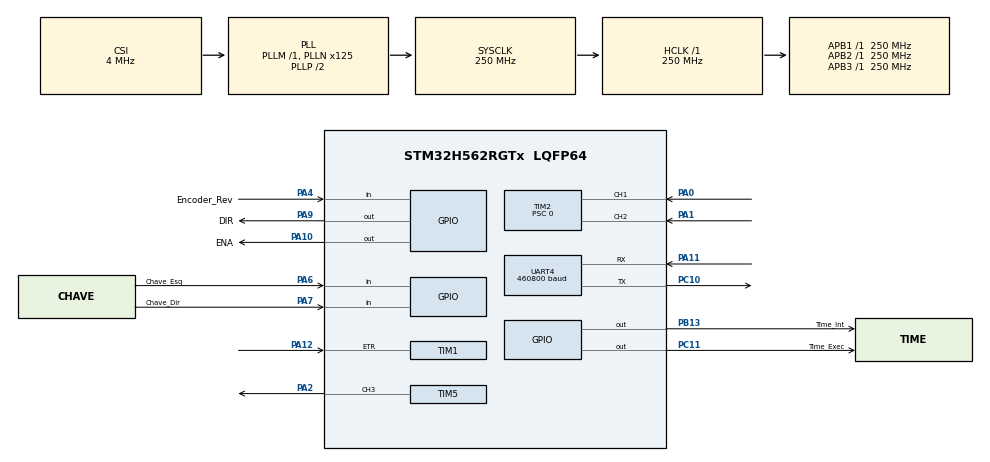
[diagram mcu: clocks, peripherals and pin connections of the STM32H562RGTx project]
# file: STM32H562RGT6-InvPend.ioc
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BOOTPATH.BootPathName=LEGACY
BOOTPATH.UserSelectedBootPath=LEGACY
CORTEX_M33_NS.Number-Cortex_Memory_Protection_Unit_Region0_OTP_RO_AREAS_Settings=MPU_REGION_NUMBER0
CORTEX_M33_NS.default_mode_Activation=1
CORTEX_M33_NS.userName=CORTEX_M33
GPDMA1.DIRECTION_GPDMACH0=DMA_MEMORY_TO_PERIPH
GPDMA1.IPHANDLE_GPDMACH0-SIMPLEREQUEST_GPDMACH0=__NULL
GPDMA1.REQUEST_GPDMACH0=GPDMA1_REQUEST_UART4_TX
GPDMA1.SRCINC_GPDMACH0=DMA_SINC_INCREMENTED
Mcu.Family=STM32H5
Mcu.Name=STM32H562RGTx
Mcu.Package=LQFP64
Mcu.UserConstants=ENCODER_RESOLUTION,9999
NVIC.GPDMA1_Channel0_IRQn=true\:0\:0\:false\:false\:true\:false\:true\:true
NVIC.PriorityGroup=NVIC_PRIORITYGROUP_4
NVIC.TIM3_IRQn=true\:0\:0\:false\:false\:true\:true\:true\:true
NVIC.UART4_IRQn=true\:0\:0\:false\:false\:true\:true\:true\:true
PA0.GPIO_PuPd=GPIO_PULLUP
PA0.Signal=S_TIM2_CH1
PA1.GPIO_PuPd=GPIO_PULLUP
PA1.Signal=S_TIM2_CH2
PA10.GPIO_Label=ENA
PA10.GPIO_ModeDefaultOutputPP=GPIO_MODE_OUTPUT_OD
PA10.GPIO_PuPd=GPIO_NOPULL
PA10.Signal=GPIO_Output
PA11.Mode=Asynchronous
PA11.Signal=UART4_RX
PA12.Signal=S_TIM1_ETR
PA13(JTMS/SWDIO).Mode=Serial_Wire
PA13(JTMS/SWDIO).Signal=DEBUG_JTMS-SWDIO
PA14(JTCK/SWCLK).Mode=Serial_Wire
PA14(JTCK/SWCLK).Signal=DEBUG_JTCK-SWCLK
PA2.GPIO_ModeDefaultPP=GPIO_MODE_AF_OD
PA2.GPIO_Speed=GPIO_SPEED_FREQ_LOW
PA2.Signal=S_TIM5_CH3
PA4.GPIO_Label=Encoder_Rev
PA4.GPIO_PuPd=GPIO_PULLUP
PA4.Signal=GPIO_Input
PA6.GPIO_Label=Chave_Esq
PA6.GPIO_PuPd=GPIO_PULLUP
PA6.Signal=GPIO_Input
PA7.GPIO_Label=Chave_Dir
PA7.GPIO_PuPd=GPIO_PULLUP
PA7.Signal=GPIO_Input
PA9.GPIO_Label=DIR
PA9.GPIO_ModeDefaultOutputPP=GPIO_MODE_OUTPUT_OD
PA9.GPIO_PuPd=GPIO_NOPULL
PA9.Signal=GPIO_Output
PB13.GPIO_Label=Time_Int
PB13.Signal=GPIO_Output
PC10.Mode=Asynchronous
PC10.Signal=UART4_TX
PC11.GPIO_Label=Time_Exec
PC11.Signal=GPIO_Output
PC14-OSC32_IN(OSC32_IN).Mode=LSE-External-Oscillator
PC14-OSC32_IN(OSC32_IN).Signal=RCC_OSC32_IN
PC15-OSC32_OUT(OSC32_OUT).Mode=LSE-External-Oscillator
PC15-OSC32_OUT(OSC32_OUT).Signal=RCC_OSC32_OUT
PH0-OSC_IN(PH0).Mode=HSE-External-Oscillator
PH0-OSC_IN(PH0).Signal=RCC_OSC_IN
PH1-OSC_OUT(PH1).Mode=HSE-External-Oscillator
PH1-OSC_OUT(PH1).Signal=RCC_OSC_OUT
ProjectManager.HeapSize=0x200
ProjectManager.StackSize=0x400
ProjectManager.TargetToolchain=STM32CubeIDE
RCC.ADCFreq_Value=250000000
RCC.AHBFreq_Value=250000000
RCC.APB1Freq_Value=250000000
RCC.APB1TimFreq_Value=250000000
RCC.APB2Freq_Value=250000000
RCC.APB2TimFreq_Value=250000000
RCC.APB3Freq_Value=250000000
RCC.CSI_VALUE=4000000
RCC.CortexFreq_Value=250000000
RCC.EPOD_VALUE=4000000
RCC.HCLKFreq_Value=250000000
RCC.HSE_VALUE=8000000
RCC.HSI48_VALUE=48000000
RCC.HSI_VALUE=64000000
RCC.LSIRC_VALUE=32000
RCC.PLL2FRACN=0
RCC.PLL3FRACN=0
RCC.PLLFRACN=0
RCC.PLLN=125
RCC.SYSCLKFreq_VALUE=250000000
RCC.SYSCLKSource=RCC_SYSCLKSOURCE_PLLCLK
RCC.USBFreq_Value=48000000
RCC.VCOOutputFreq_Value=500000000
SH.S_TIM1_ETR.0=TIM1_ETR,ClockSourceETR_Mode2
SH.S_TIM2_CH1.0=TIM2_CH1,Encoder_Interface
SH.S_TIM2_CH2.0=TIM2_CH2,Encoder_Interface
SH.S_TIM5_CH3.0=TIM5_CH3,PWM Generation3 CH3
TIM2.AutoReloadPreload=TIM_AUTORELOAD_PRELOAD_ENABLE
TIM2.ClockDivision=TIM_CLOCKDIVISION_DIV1
TIM2.Dithering=Disable
TIM2.EncoderMode=TIM_ENCODERMODE_TI12
TIM2.IC1Filter=10
TIM2.IC1Polarity=TIM_ICPOLARITY_RISING
TIM2.IC2Filter=10
TIM2.IC2Polarity=TIM_ICPOLARITY_RISING
TIM2.PeriodNoDither=ENCODER_RESOLUTION
TIM2.Prescaler=0
TIM3.PeriodNoDither=1000-1
TIM3.Prescaler=250-1
TIM4.Prescaler=250-1
TIM5.AutoReloadPreload=TIM_AUTORELOAD_PRELOAD_ENABLE
TIM5.Channel-PWM\ Generation3\ CH3=TIM_CHANNEL_3
TIM5.OCFastMode_PWM-PWM\ Generation3\ CH3=TIM_OCFAST_ENABLE
TIM5.PeriodNoDither=1000000-1
TIM5.Prescaler=250-1
TIM5.PulseNoDither_3=500000
UART4.BaudRate=460800
VP_BOOTPATH_VS_BOOTPATH.Mode=BP_Activate
VP_CORTEX_M33_NS_VS_Hclk.Mode=Hclk_Mode
VP_GPDMA1_VS_GPDMACH0.Mode=SIMPLEREQUEST_GPDMACH0
VP_ICACHE_VS_ICACHE.Mode=DirectMappedCache
VP_MEMORYMAP_VS_MEMORYMAP.Mode=CurAppReg
VP_PWR_VS_LPOM.Mode=PowerOptimisation
VP_PWR_VS_SECSignals.Mode=Security/Privilege
VP_TIM3_VS_ClockSourceINT.Mode=Internal
VP_TIM4_VS_ClockSourceINT.Mode=Internal
VP_TIM5_VS_ClockSourceINT.Mode=Internal
board=custom

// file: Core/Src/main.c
/* USER CODE BEGIN Header */
/**
  ******************************************************************************
  * @file           : main.c
  * @brief          : Main program body
  ******************************************************************************
  * @attention
  *
  * Copyright (c) 2026 STMicroelectronics.
  * All rights reserved.
  *
  * This software is licensed under terms that can be found in the LICENSE file
  * in the root directory of this software component.
  * If no LICENSE file comes with this software, it is provided AS-IS.
  *
  ******************************************************************************
  */
/* USER CODE END Header */
#include "main.h"

/* USER CODE BEGIN Includes */
#include "stdio.h"
#include "string.h"
#include "penduloinvertido.h"

/* USER CODE END Includes */

TIM_HandleTypeDef htim1;
TIM_HandleTypeDef htim2;
TIM_HandleTypeDef htim3;
TIM_HandleTypeDef htim4;
TIM_HandleTypeDef htim5;

UART_HandleTypeDef huart4;
DMA_HandleTypeDef handle_GPDMA1_Channel0;

/* USER CODE BEGIN PV */
int32_t   tempo;            // Variável para testes de tempo
uint32_t  last_rx_time = 0; // Controle de tempo para expirar dado recebido pela UART
uint8_t   rx_buffer[3];     // Buffer do RX da UART
char      tx_buffer[35];    // Buffer do TX da UART
int32_t   excede_envio;     // Variável é incrementada caso tenha dados de simulação para enviar
                            // via serial antes de terminar o anterior (Serial 460800bps)
                            // significa que não esta dando tempo de enviar novos dados
                            // antes de acabar de enviar os dados anteriores.
                            // Obs.: Utilizada somente para análise e debug

volatile uint8_t uart_tx_busy = 0, flag_controle = 0;

Pendulo_t pendulo;

/* USER CODE END PV */

void SystemClock_Config(void);
static void MPU_Config(void);
static void MX_GPIO_Init(void);
static void MX_GPDMA1_Init(void);
static void MX_ICACHE_Init(void);
static void MX_UART4_Init(void);
static void MX_TIM2_Init(void);
static void MX_TIM3_Init(void);
static void MX_TIM5_Init(void);
static void MX_TIM4_Init(void);
static void MX_TIM1_Init(void);

/* USER CODE BEGIN 0 */

/**
 * @brief Rotina de atraso em ms, lembrar como o Timer 4 é de 16 bits, o atraso máximo é 65milisegundos
 */
void atraso_us(uint32_t us)
{
    __HAL_TIM_SET_COUNTER(&htim4,0); // Zera contador
    while(__HAL_TIM_GET_COUNTER(&htim4) < us);
 }

/**
 * @brief Ajusta PID com dados recebido do simulador no PC, normlamente de 0 a 100
 *		  Com isto temos os coeficientes Kp de 0 a 100, Ki e Kd de 0 a 0.1
 */
void HAL_UART_RxCpltCallback(UART_HandleTypeDef *huart)
{
	if (huart->Instance == UART4)
	{
		last_rx_time = HAL_GetTick();

        Pendulo_SetaPID(&pendulo, (float) rx_buffer[0],
        		                  (float) rx_buffer[1],
						          (float) rx_buffer[2] / 10);
	}
}

/**
 * @brief Descarta dados do buffer caso a UART não seja preenchida em 1 segundo
 */
void Expira_RX_Buffer_Simulador()

{
	if ((HAL_GetTick() - last_rx_time) > 1000 && rx_buffer[0] > 0)
	{
		memset(rx_buffer, 0, sizeof(rx_buffer));
		HAL_UART_AbortReceive_IT(&huart4);
		HAL_UART_Receive_IT(&huart4, rx_buffer, 3);
	}
}

/**
 * @brief Seta variável uart_tx_busy = 0 sinalizando que acabou a transmissão UART
 */
void HAL_UART_TxCpltCallback(UART_HandleTypeDef *huart)
{
	if (huart->Instance == UART4)
	{
		uart_tx_busy = 0;
	}
}

/**
 *  @brief Envia dados para o simulador no PC
 */
void Envia_simulador()
{
	if (uart_tx_busy == 0)
	{
		uart_tx_busy = 1;

		// Ângulo, Velocidade angular, posição do carro, velocidade do carro
		sprintf((char*)tx_buffer, "%.1f;%.1f;%d;%d\r\n",
				pendulo.angulo_pendulo,
				pendulo.velocidade_angular_pendulo,
				pendulo.posicao_carro,
				pendulo.velocidade_carro);
		HAL_UART_Transmit_DMA(&huart4, (uint8_t*)tx_buffer, strlen(tx_buffer));
	}
	else
	{
		excede_envio++;
	}
}

/**
 * @brief Esta função é chamada pelo timer 3 programado para cada 1 ms
 *        É o coração do controle do pêndulo invertido
 */
void HAL_TIM_PeriodElapsedCallback(TIM_HandleTypeDef *htim)
{
	if (htim == &htim3)
	{
	    flag_controle = 1;
	}
}

/* USER CODE END 0 */

int main(void)
{

  /* MCU Configuration--------------------------------------------------------*/

  /* MPU Configuration--------------------------------------------------------*/
  MPU_Config();

  /* Reset of all peripherals, Initializes the Flash interface and the Systick. */
  HAL_Init();

  /* Configure the system clock */
  SystemClock_Config();

  /* Initialize all configured peripherals */
  MX_GPIO_Init();
  MX_GPDMA1_Init();
  MX_ICACHE_Init();
  MX_UART4_Init();
  MX_TIM2_Init();
  MX_TIM3_Init();
  MX_TIM5_Init();
  MX_TIM4_Init();
  MX_TIM1_Init();
  /* USER CODE BEGIN 2 */
  HAL_TIM_Encoder_Start(&htim2, TIM_CHANNEL_ALL); // Inicia encoder
  HAL_UART_Receive_IT(&huart4, rx_buffer, 3); // Gera interrupção após UART preencher buffer com 3º bytes
  HAL_TIM_Base_Start(&htim4);

  // Inicializa GPIOs
  HAL_GPIO_WritePin(DIR_GPIO_Port, DIR_Pin, 1); // Motor 0 = Anti-horário, carro direita / 1 = Horário, carro esquerda
  HAL_GPIO_WritePin(ENA_GPIO_Port, ENA_Pin, 1); // Motor 1 = Habilitado / 0 = desabilitado
  HAL_GPIO_WritePin(Time_Int_GPIO_Port, Time_Int_Pin, 0); // Para análise com osciloscópio
  HAL_GPIO_WritePin(Time_Exec_GPIO_Port, Time_Exec_Pin, 0); // Para análise com osciloscópio
  HAL_TIM_Base_Start(&htim1); //Inicia contagem de pulsos PWM do motor de passo
  /* USER CODE END 2 */

  /* Infinite loop */
  /* USER CODE BEGIN WHILE */

  HAL_Delay(500); // Atraso para estabilização

  /**
 * @brief Inicializa Pêndulo passando as referências necessárias
 *
 * @param pendulo - Estrutura principal
 * @param htim5 - Timer PWM
 * @param TIM_CHANNEL_3 - Canal PWM
 * @param Chave_Dir_GPIO_Port - GPIO chave de fim de curso direita
 * @param Chave_Dir_Pin - Pino associado
 * @param Chave_Esq_GPIO_Port - GPIO chave de fim de curso esquerda
 * @param Chave_Esq_Pin - Pino associado
 * @param DIR_GPIO_Port - Direção do motor
 * @param DIR_Pin - Pino associado
 * @param htim1 - Contador de pulsos
 * @param htim2 - Encoder
 */
  Pendulo_Inicializa(&pendulo, &htim5, TIM_CHANNEL_3,
		             Chave_Dir_GPIO_Port, Chave_Dir_Pin,
					 Chave_Esq_GPIO_Port, Chave_Esq_Pin,
					 DIR_GPIO_Port, DIR_Pin,
					 &htim1, &htim2);

  HAL_TIM_Base_Start_IT(&htim3); // Inicia interrupção para o controle do pêndulo

  while (1)
  {
    /* USER CODE END WHILE */

    /* USER CODE BEGIN 3 */
	if (flag_controle == 1)
	{
        Pendulo_AtualizaPendulo(&pendulo);

	    Expira_RX_Buffer_Simulador();
	    Envia_simulador();

		flag_controle = 0;
	}
  }
  /* USER CODE END 3 */
}

void SystemClock_Config(void)
{
  RCC_OscInitTypeDef RCC_OscInitStruct = {0};
  RCC_ClkInitTypeDef RCC_ClkInitStruct = {0};

  /** Configure the main internal regulator output voltage
  */
  __HAL_PWR_VOLTAGESCALING_CONFIG(PWR_REGULATOR_VOLTAGE_SCALE0);

  while(!__HAL_PWR_GET_FLAG(PWR_FLAG_VOSRDY)) {}

  /** Initializes the RCC Oscillators according to the specified parameters
  * in the RCC_OscInitTypeDef structure.
  */
  RCC_OscInitStruct.OscillatorType = RCC_OSCILLATORTYPE_CSI;
  RCC_OscInitStruct.CSIState = RCC_CSI_ON;
  RCC_OscInitStruct.CSICalibrationValue = RCC_CSICALIBRATION_DEFAULT;
  RCC_OscInitStruct.PLL.PLLState = RCC_PLL_ON;
  RCC_OscInitStruct.PLL.PLLSource = RCC_PLL1_SOURCE_CSI;
  RCC_OscInitStruct.PLL.PLLM = 1;
  RCC_OscInitStruct.PLL.PLLN = 125;
  RCC_OscInitStruct.PLL.PLLP = 2;
  RCC_OscInitStruct.PLL.PLLQ = 2;
  RCC_OscInitStruct.PLL.PLLR = 2;
  RCC_OscInitStruct.PLL.PLLRGE = RCC_PLL1_VCIRANGE_2;
  RCC_OscInitStruct.PLL.PLLVCOSEL = RCC_PLL1_VCORANGE_WIDE;
  RCC_OscInitStruct.PLL.PLLFRACN = 0;
  if (HAL_RCC_OscConfig(&RCC_OscInitStruct) != HAL_OK)
  {
    Error_Handler();
  }

  /** Initializes the CPU, AHB and APB buses clocks
  */
  RCC_ClkInitStruct.ClockType = RCC_CLOCKTYPE_HCLK|RCC_CLOCKTYPE_SYSCLK
                              |RCC_CLOCKTYPE_PCLK1|RCC_CLOCKTYPE_PCLK2
                              |RCC_CLOCKTYPE_PCLK3;
  RCC_ClkInitStruct.SYSCLKSource = RCC_SYSCLKSOURCE_PLLCLK;
  RCC_ClkInitStruct.AHBCLKDivider = RCC_SYSCLK_DIV1;
  RCC_ClkInitStruct.APB1CLKDivider = RCC_HCLK_DIV1;
  RCC_ClkInitStruct.APB2CLKDivider = RCC_HCLK_DIV1;
  RCC_ClkInitStruct.APB3CLKDivider = RCC_HCLK_DIV1;

  if (HAL_RCC_ClockConfig(&RCC_ClkInitStruct, FLASH_LATENCY_5) != HAL_OK)
  {
    Error_Handler();
  }

  /** Configure the programming delay
  */
  __HAL_FLASH_SET_PROGRAM_DELAY(FLASH_PROGRAMMING_DELAY_2);
}

static void MX_GPDMA1_Init(void)
{

  /* Peripheral clock enable */
  __HAL_RCC_GPDMA1_CLK_ENABLE();

  /* GPDMA1 interrupt Init */
    HAL_NVIC_SetPriority(GPDMA1_Channel0_IRQn, 0, 0);
    HAL_NVIC_EnableIRQ(GPDMA1_Channel0_IRQn);

}

static void MX_ICACHE_Init(void)
{

  /** Enable instruction cache in 1-way (direct mapped cache)
  */
  if (HAL_ICACHE_ConfigAssociativityMode(ICACHE_1WAY) != HAL_OK)
  {
    Error_Handler();
  }
  if (HAL_ICACHE_Enable() != HAL_OK)
  {
    Error_Handler();
  }

}

static void MX_TIM1_Init(void)
{

  TIM_ClockConfigTypeDef sClockSourceConfig = {0};
  TIM_MasterConfigTypeDef sMasterConfig = {0};

  htim1.Instance = TIM1;
  htim1.Init.Prescaler = 0;
  htim1.Init.CounterMode = TIM_COUNTERMODE_UP;
  htim1.Init.Period = 65535;
  htim1.Init.ClockDivision = TIM_CLOCKDIVISION_DIV1;
  htim1.Init.RepetitionCounter = 0;
  htim1.Init.AutoReloadPreload = TIM_AUTORELOAD_PRELOAD_DISABLE;
  if (HAL_TIM_Base_Init(&htim1) != HAL_OK)
  {
    Error_Handler();
  }
  sClockSourceConfig.ClockSource = TIM_CLOCKSOURCE_ETRMODE2;
  sClockSourceConfig.ClockPolarity = TIM_CLOCKPOLARITY_NONINVERTED;
  sClockSourceConfig.ClockPrescaler = TIM_CLOCKPRESCALER_DIV1;
  sClockSourceConfig.ClockFilter = 0;
  if (HAL_TIM_ConfigClockSource(&htim1, &sClockSourceConfig) != HAL_OK)
  {
    Error_Handler();
  }
  sMasterConfig.MasterOutputTrigger = TIM_TRGO_RESET;
  sMasterConfig.MasterOutputTrigger2 = TIM_TRGO2_RESET;
  sMasterConfig.MasterSlaveMode = TIM_MASTERSLAVEMODE_DISABLE;
  if (HAL_TIMEx_MasterConfigSynchronization(&htim1, &sMasterConfig) != HAL_OK)
  {
    Error_Handler();
  }

}

static void MX_TIM2_Init(void)
{

  TIM_Encoder_InitTypeDef sConfig = {0};
  TIM_MasterConfigTypeDef sMasterConfig = {0};

  htim2.Instance = TIM2;
  htim2.Init.Prescaler = 0;
  htim2.Init.CounterMode = TIM_COUNTERMODE_UP;
  htim2.Init.Period = 9999;
  htim2.Init.ClockDivision = TIM_CLOCKDIVISION_DIV1;
  htim2.Init.AutoReloadPreload = TIM_AUTORELOAD_PRELOAD_ENABLE;
  sConfig.EncoderMode = TIM_ENCODERMODE_TI12;
  sConfig.IC1Polarity = TIM_ICPOLARITY_RISING;
  sConfig.IC1Selection = TIM_ICSELECTION_DIRECTTI;
  sConfig.IC1Prescaler = TIM_ICPSC_DIV1;
  sConfig.IC1Filter = 10;
  sConfig.IC2Polarity = TIM_ICPOLARITY_RISING;
  sConfig.IC2Selection = TIM_ICSELECTION_DIRECTTI;
  sConfig.IC2Prescaler = TIM_ICPSC_DIV1;
  sConfig.IC2Filter = 10;
  if (HAL_TIM_Encoder_Init(&htim2, &sConfig) != HAL_OK)
  {
    Error_Handler();
  }
  sMasterConfig.MasterOutputTrigger = TIM_TRGO_RESET;
  sMasterConfig.MasterSlaveMode = TIM_MASTERSLAVEMODE_DISABLE;
  if (HAL_TIMEx_MasterConfigSynchronization(&htim2, &sMasterConfig) != HAL_OK)
  {
    Error_Handler();
  }

}

static void MX_TIM3_Init(void)
{

  TIM_ClockConfigTypeDef sClockSourceConfig = {0};
  TIM_MasterConfigTypeDef sMasterConfig = {0};

  htim3.Instance = TIM3;
  htim3.Init.Prescaler = 250-1;
  htim3.Init.CounterMode = TIM_COUNTERMODE_UP;
  htim3.Init.Period = 999;
  htim3.Init.ClockDivision = TIM_CLOCKDIVISION_DIV1;
  htim3.Init.AutoReloadPreload = TIM_AUTORELOAD_PRELOAD_DISABLE;
  if (HAL_TIM_Base_Init(&htim3) != HAL_OK)
  {
    Error_Handler();
  }
  sClockSourceConfig.ClockSource = TIM_CLOCKSOURCE_INTERNAL;
  if (HAL_TIM_ConfigClockSource(&htim3, &sClockSourceConfig) != HAL_OK)
  {
    Error_Handler();
  }
  sMasterConfig.MasterOutputTrigger = TIM_TRGO_RESET;
  sMasterConfig.MasterSlaveMode = TIM_MASTERSLAVEMODE_DISABLE;
  if (HAL_TIMEx_MasterConfigSynchronization(&htim3, &sMasterConfig) != HAL_OK)
  {
    Error_Handler();
  }

}

static void MX_TIM4_Init(void)
{

  TIM_ClockConfigTypeDef sClockSourceConfig = {0};
  TIM_MasterConfigTypeDef sMasterConfig = {0};

  htim4.Instance = TIM4;
  htim4.Init.Prescaler = 250-1;
  htim4.Init.CounterMode = TIM_COUNTERMODE_UP;
  htim4.Init.Period = 65535;
  htim4.Init.ClockDivision = TIM_CLOCKDIVISION_DIV1;
  htim4.Init.AutoReloadPreload = TIM_AUTORELOAD_PRELOAD_DISABLE;
  if (HAL_TIM_Base_Init(&htim4) != HAL_OK)
  {
    Error_Handler();
  }
  sClockSourceConfig.ClockSource = TIM_CLOCKSOURCE_INTERNAL;
  if (HAL_TIM_ConfigClockSource(&htim4, &sClockSourceConfig) != HAL_OK)
  {
    Error_Handler();
  }
  sMasterConfig.MasterOutputTrigger = TIM_TRGO_RESET;
  sMasterConfig.MasterSlaveMode = TIM_MASTERSLAVEMODE_DISABLE;
  if (HAL_TIMEx_MasterConfigSynchronization(&htim4, &sMasterConfig) != HAL_OK)
  {
    Error_Handler();
  }

}

static void MX_TIM5_Init(void)
{

  TIM_ClockConfigTypeDef sClockSourceConfig = {0};
  TIM_MasterConfigTypeDef sMasterConfig = {0};
  TIM_OC_InitTypeDef sConfigOC = {0};

  htim5.Instance = TIM5;
  htim5.Init.Prescaler = 250-1;
  htim5.Init.CounterMode = TIM_COUNTERMODE_UP;
  htim5.Init.Period = 999999;
  htim5.Init.ClockDivision = TIM_CLOCKDIVISION_DIV1;
  htim5.Init.AutoReloadPreload = TIM_AUTORELOAD_PRELOAD_ENABLE;
  if (HAL_TIM_Base_Init(&htim5) != HAL_OK)
  {
    Error_Handler();
  }
  sClockSourceConfig.ClockSource = TIM_CLOCKSOURCE_INTERNAL;
  if (HAL_TIM_ConfigClockSource(&htim5, &sClockSourceConfig) != HAL_OK)
  {
    Error_Handler();
  }
  if (HAL_TIM_PWM_Init(&htim5) != HAL_OK)
  {
    Error_Handler();
  }
  sMasterConfig.MasterOutputTrigger = TIM_TRGO_RESET;
  sMasterConfig.MasterSlaveMode = TIM_MASTERSLAVEMODE_DISABLE;
  if (HAL_TIMEx_MasterConfigSynchronization(&htim5, &sMasterConfig) != HAL_OK)
  {
    Error_Handler();
  }
  sConfigOC.OCMode = TIM_OCMODE_PWM1;
  sConfigOC.Pulse = 500000;
  sConfigOC.OCPolarity = TIM_OCPOLARITY_HIGH;
  sConfigOC.OCFastMode = TIM_OCFAST_ENABLE;
  if (HAL_TIM_PWM_ConfigChannel(&htim5, &sConfigOC, TIM_CHANNEL_3) != HAL_OK)
  {
    Error_Handler();
  }
  HAL_TIM_MspPostInit(&htim5);

}

static void MX_UART4_Init(void)
{

  huart4.Instance = UART4;
  huart4.Init.BaudRate = 460800;
  huart4.Init.WordLength = UART_WORDLENGTH_8B;
  huart4.Init.StopBits = UART_STOPBITS_1;
  huart4.Init.Parity = UART_PARITY_NONE;
  huart4.Init.Mode = UART_MODE_TX_RX;
  huart4.Init.HwFlowCtl = UART_HWCONTROL_NONE;
  huart4.Init.OverSampling = UART_OVERSAMPLING_16;
  huart4.Init.OneBitSampling = UART_ONE_BIT_SAMPLE_DISABLE;
  huart4.Init.ClockPrescaler = UART_PRESCALER_DIV1;
  huart4.AdvancedInit.AdvFeatureInit = UART_ADVFEATURE_NO_INIT;
  if (HAL_UART_Init(&huart4) != HAL_OK)
  {
    Error_Handler();
  }
  if (HAL_UARTEx_SetTxFifoThreshold(&huart4, UART_TXFIFO_THRESHOLD_1_8) != HAL_OK)
  {
    Error_Handler();
  }
  if (HAL_UARTEx_SetRxFifoThreshold(&huart4, UART_RXFIFO_THRESHOLD_1_8) != HAL_OK)
  {
    Error_Handler();
  }
  if (HAL_UARTEx_DisableFifoMode(&huart4) != HAL_OK)
  {
    Error_Handler();
  }

}

static void MX_GPIO_Init(void)
{
  GPIO_InitTypeDef GPIO_InitStruct = {0};

  /* GPIO Ports Clock Enable */
  __HAL_RCC_GPIOC_CLK_ENABLE();
  __HAL_RCC_GPIOH_CLK_ENABLE();
  __HAL_RCC_GPIOA_CLK_ENABLE();
  __HAL_RCC_GPIOB_CLK_ENABLE();

  /*Configure GPIO pin Output Level */
  HAL_GPIO_WritePin(Time_Int_GPIO_Port, Time_Int_Pin, GPIO_PIN_RESET);

  /*Configure GPIO pin Output Level */
  HAL_GPIO_WritePin(GPIOA, DIR_Pin|ENA_Pin, GPIO_PIN_RESET);

  /*Configure GPIO pin Output Level */
  HAL_GPIO_WritePin(Time_Exec_GPIO_Port, Time_Exec_Pin, GPIO_PIN_RESET);

  /*Configure GPIO pins : Encoder_Rev_Pin Chave_Esq_Pin Chave_Dir_Pin */
  GPIO_InitStruct.Pin = Encoder_Rev_Pin|Chave_Esq_Pin|Chave_Dir_Pin;
  GPIO_InitStruct.Mode = GPIO_MODE_INPUT;
  GPIO_InitStruct.Pull = GPIO_PULLUP;
  HAL_GPIO_Init(GPIOA, &GPIO_InitStruct);

  /*Configure GPIO pin : Time_Int_Pin */
  GPIO_InitStruct.Pin = Time_Int_Pin;
  GPIO_InitStruct.Mode = GPIO_MODE_OUTPUT_PP;
  GPIO_InitStruct.Pull = GPIO_NOPULL;
  GPIO_InitStruct.Speed = GPIO_SPEED_FREQ_LOW;
  HAL_GPIO_Init(Time_Int_GPIO_Port, &GPIO_InitStruct);

  /*Configure GPIO pins : DIR_Pin ENA_Pin */
  GPIO_InitStruct.Pin = DIR_Pin|ENA_Pin;
  GPIO_InitStruct.Mode = GPIO_MODE_OUTPUT_OD;
  GPIO_InitStruct.Pull = GPIO_NOPULL;
  GPIO_InitStruct.Speed = GPIO_SPEED_FREQ_LOW;
  HAL_GPIO_Init(GPIOA, &GPIO_InitStruct);

  /*Configure GPIO pin : PA13 */
  GPIO_InitStruct.Pin = GPIO_PIN_13;
  GPIO_InitStruct.Mode = GPIO_MODE_AF_PP;
  GPIO_InitStruct.Pull = GPIO_PULLUP;
  GPIO_InitStruct.Speed = GPIO_SPEED_FREQ_LOW;
  GPIO_InitStruct.Alternate = GPIO_AF0_TRACE;
  HAL_GPIO_Init(GPIOA, &GPIO_InitStruct);

  /*Configure GPIO pin : Time_Exec_Pin */
  GPIO_InitStruct.Pin = Time_Exec_Pin;
  GPIO_InitStruct.Mode = GPIO_MODE_OUTPUT_PP;
  GPIO_InitStruct.Pull = GPIO_NOPULL;
  GPIO_InitStruct.Speed = GPIO_SPEED_FREQ_LOW;
  HAL_GPIO_Init(Time_Exec_GPIO_Port, &GPIO_InitStruct);

}

 /* MPU Configuration */

void MPU_Config(void)
{
  MPU_Region_InitTypeDef MPU_InitStruct = {0};
  MPU_Attributes_InitTypeDef MPU_AttributesInit = {0};

  /* Disables the MPU */
  HAL_MPU_Disable();

  /** Initializes and configures the Region 0 and the memory to be protected
  */
  MPU_InitStruct.Enable = MPU_REGION_ENABLE;
  MPU_InitStruct.Number = MPU_REGION_NUMBER0;
  MPU_InitStruct.BaseAddress = 0x08FFF000;
  MPU_InitStruct.LimitAddress = 0x08FFFFFF;
  MPU_InitStruct.AttributesIndex = MPU_ATTRIBUTES_NUMBER0;
  MPU_InitStruct.AccessPermission = MPU_REGION_ALL_RO;
  MPU_InitStruct.DisableExec = MPU_INSTRUCTION_ACCESS_DISABLE;
  MPU_InitStruct.IsShareable = MPU_ACCESS_NOT_SHAREABLE;

  HAL_MPU_ConfigRegion(&MPU_InitStruct);

  /** Initializes and configures the Attribute 0 and the memory to be protected
  */
  MPU_AttributesInit.Number = MPU_ATTRIBUTES_NUMBER0;
  MPU_AttributesInit.Attributes = INNER_OUTER(MPU_NOT_CACHEABLE);

  HAL_MPU_ConfigMemoryAttributes(&MPU_AttributesInit);
  /* Enables the MPU */
  HAL_MPU_Enable(MPU_PRIVILEGED_DEFAULT);

}

void Error_Handler(void)
{
  __disable_irq();
  while (1)
  {
  }
}
